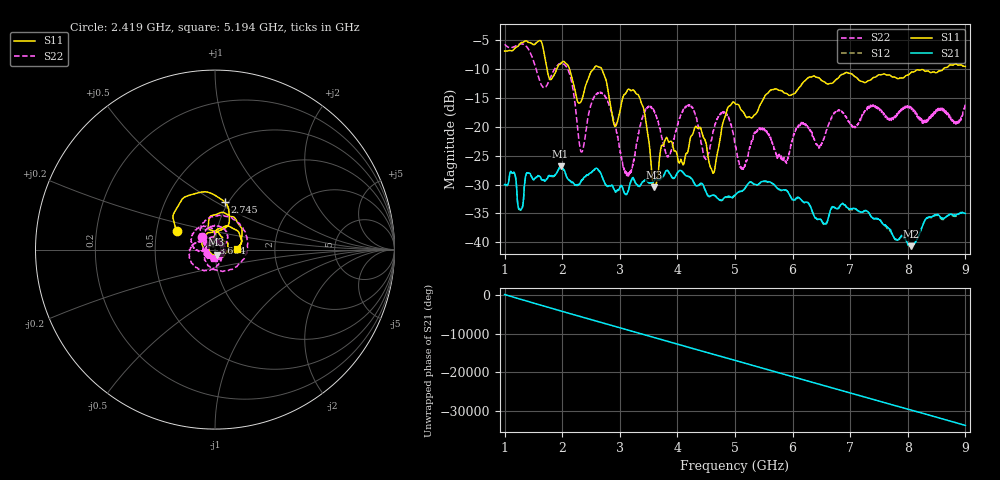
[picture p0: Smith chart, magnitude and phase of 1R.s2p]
!Keysight Technologies N9915A: A.10.33
!Date: Tuesday, 12 May 2020 14:08:16
!Timezone: (UTC+08:00) Perth
!Model: N9915A
!Serial: MY53102697
!GPS Latitude:
!GPS Longitude:
!GPS TimeStamp: 0001-01-01 00:00:00Z
!GPS Seconds Since Last Read: 0
!CHECKSUM:2147045690
!Correction: S11(ON U)S21(ON U)S12(ON U)S22(ON U)
!S2P File: Measurements:S11,S21,S12,S22:
# Hz S DB R 50
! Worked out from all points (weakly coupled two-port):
!   10001 points, 1 GHz to 9 GHz, reference 50 ohm
!   highest |S21| = -26.86 dB at 1.971 GHz (marker M1); lowest = -40.7 dB at 8.058 GHz (marker M2)
!   lowest |S11| = -30.5 dB at 3.594 GHz (marker M3), VSWR 1.06, Z = 50.8 - j2.91 ohm
!   |S11| at or under -10 dB: 1.735 GHz to 1.903 GHz (167.6 MHz wide, 9.21 % of centre); 2.129 GHz to 2.541 GHz (412.8 MHz wide, 17.7 % of centre); 2.687 GHz to 8.614 GHz (5.927 GHz wide, 105 % of centre)
!   |S22| runs from -28.5 to -5.6 dB; largest |S21 - S12| = 0.0016
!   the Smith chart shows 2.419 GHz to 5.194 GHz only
!   S11 on the Smith chart (normalised r, x): 2.419 GHz: 0.64, +0.14; 2.745 GHz: 0.97, +0.55; 3.664 GHz: 0.97, +0.07; 5.194 GHz: 1.28, +0.01
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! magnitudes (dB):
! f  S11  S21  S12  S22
! 1 GHz  -6.9  -30.0  -30.1  -5.7
! 1.276 GHz  -5.5  -34.4  -34.5  -5.6
! 1.971 GHz  -9.1  -26.9  -26.9  -9.0
! 2.334 GHz  -15.5  -29.3  -29.3  -24.3
! 2.419 GHz  -12.5  -28.4  -28.4  -20.2
! 2.745 GHz  -11.4  -29.8  -29.9  -14.8
! 2.918 GHz  -19.9  -31.1  -31.2  -19.6
! 3.132 GHz  -13.6  -31.4  -31.4  -28.4
! 3.4 GHz  -16.4  -29.5  -29.5  -18.1
! 3.594 GHz  -30.5  -29.4  -29.4  -17.3
! 3.664 GHz  -28.4  -29.1  -29.2  -18.9
! 3.667 GHz  -28.1  -29.1  -29.2  -19.0
! 3.838 GHz  -22.4  -27.6  -27.6  -25.1
! 4.345 GHz  -20.2  -30.2  -30.3  -19.2
! 4.487 GHz  -22.5  -31.0  -31.1  -25.5
! 4.622 GHz  -28.0  -31.8  -31.8  -20.6
! 5 GHz  -15.9  -31.8  -31.9  -22.8
! 5.194 GHz  -18.3  -30.3  -30.4  -26.1
! 6.334 GHz  -11.3  -34.5  -34.5  -20.9
! 7.667 GHz  -11.0  -37.6  -37.8  -18.5
! 8.058 GHz  -10.5  -40.7  -40.6  -16.7
! 9 GHz  -9.5  -35.0  -35.0  -16.2
